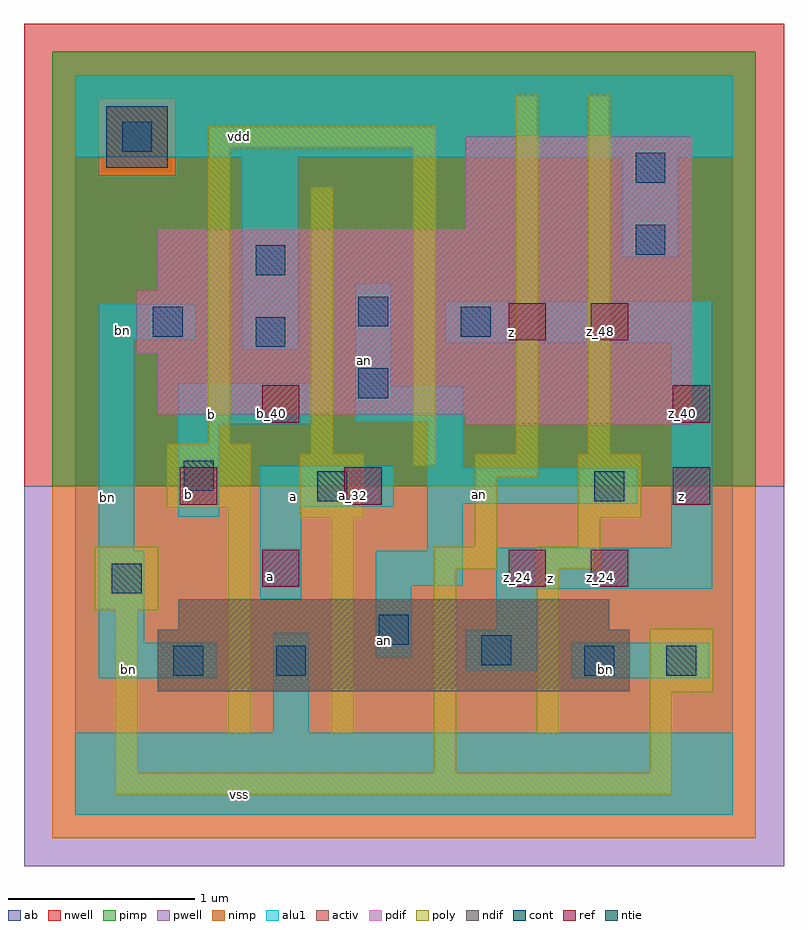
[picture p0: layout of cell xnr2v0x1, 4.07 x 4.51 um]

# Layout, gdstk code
import gdstk
lib = gdstk.Library(unit=1e-6, precision=2.5e-09)
def R(c, l, rs):  # rectangles x0, y0, x1, y1
    for r in rs: c.add(gdstk.rectangle(r[:2], r[2:], *l))
ndif = (3, 0)
pdif = (4, 0)
ntie = (5, 0)
ref = (24, 0)
cont = (25, 0)
pwell = (41, 0)
nwell = (42, 0)
activ = (43, 0)
pimp = (44, 0)
nimp = (45, 0)
poly = (46, 0)
alu1 = (49, 0)
ab = (63, 0)

xnr2v0x1 = lib.new_cell('xnr2v0x1')
R(xnr2v0x1, ndif, [(0.44,0.66,2.97,0.99), (0.55,0.99,2.86,1.155)])
R(xnr2v0x1, pdif, [(2.09,2.09,3.3,2.145), (0.44,2.145,3.3,2.475), (0.33,2.475,3.3,2.805), (0.44,2.805,3.3,3.135), (2.09,3.135,3.3,3.63)])
R(xnr2v0x1, ntie, [(0.165,3.465,0.495,3.795)])
R(xnr2v0x1, ref, [(1,1.22,1.2,1.42), (2.32,1.22,2.52,1.42), (2.76,1.22,2.96,1.42), (0.56,1.66,0.76,1.86), (1.44,1.66,1.64,1.86), (3.2,1.66,3.4,1.86), (1,2.1,1.2,2.3), (3.2,2.1,3.4,2.3), (2.32,2.54,2.52,2.74), (2.76,2.54,2.96,2.74)])
R(xnr2v0x1, cont, [(0.525,0.745,0.685,0.905), (1.075,0.745,1.235,0.905), (2.725,0.745,2.885,0.905), (3.165,0.745,3.325,0.905), (2.175,0.8,2.335,0.96), (1.625,0.91,1.785,1.07), (0.195,1.185,0.355,1.345), (1.295,1.68,1.455,1.84), (2.78,1.68,2.94,1.84), (0.58,1.735,0.74,1.895), (1.515,2.23,1.675,2.39), (0.965,2.505,1.125,2.665), (0.415,2.56,0.575,2.72), (2.065,2.56,2.225,2.72), (1.515,2.615,1.675,2.775), (0.965,2.89,1.125,3.05), (3,3,3.16,3.16), (3,3.385,3.16,3.545), (0.25,3.55,0.41,3.71)])
R(xnr2v0x1, pwell, [(-0.275,-0.275,3.795,1.76)])
R(xnr2v0x1, nwell, [(-0.275,1.76,3.795,4.235)])
R(xnr2v0x1, activ, [(0.44,0.66,2.97,0.99), (0.55,0.99,2.86,1.155), (2.09,2.09,3.3,2.145), (0.44,2.145,3.3,2.475), (0.33,2.475,3.3,2.805), (0.44,2.805,3.3,3.135), (2.09,3.135,3.3,3.63), (0.165,3.465,0.495,3.795)])
R(xnr2v0x1, pimp, [(-0.125,1.76,3.645,3.425), (-0.125,3.425,0.125,3.835), (0.535,3.425,3.645,3.835), (-0.125,3.835,3.645,4.085)])
R(xnr2v0x1, nimp, [(-0.125,-0.125,3.645,1.76), (0.125,3.425,0.535,3.835)])
R(xnr2v0x1, poly, [(0.215,0.105,3.195,0.225), (0.215,0.225,0.335,1.095), (1.92,0.225,2.04,1.315), (3.075,0.225,3.195,0.655), (0.82,0.435,0.94,1.645), (1.37,0.435,1.49,1.59), (2.47,0.435,2.59,1.315), (3.075,0.655,3.415,0.995), (0.105,1.095,0.445,1.435), (1.92,1.315,2.26,1.435), (2.47,1.315,2.81,1.435), (2.14,1.435,2.26,1.81), (2.69,1.435,2.81,1.59), (1.205,1.59,1.545,1.93), (2.69,1.59,3.03,1.93), (0.49,1.645,0.94,1.985), (2.14,1.81,2.48,1.93), (1.81,1.865,1.93,3.57), (1.26,1.93,1.38,3.36), (2.36,1.93,2.48,3.855), (2.745,1.93,2.865,3.855), (0.71,1.985,0.83,3.57), (0.71,3.57,1.93,3.69)])
R(xnr2v0x1, alu1, [(0,0,3.52,0.44), (1.06,0.44,1.25,0.975), (0.125,0.73,0.755,0.92), (2.655,0.73,3.395,0.92), (2.09,0.77,2.475,0.99), (1.61,0.84,1.8,1.225), (0.125,0.92,0.37,1.415), (2.255,0.99,2.475,1.21), (0.99,1.155,1.21,1.65), (2.255,1.21,3.41,1.43), (1.61,1.225,2.075,1.415), (0.125,1.415,0.315,2.545), (1.885,1.415,2.075,1.665), (3.19,1.43,3.41,2.53), (0.55,1.595,0.77,2.09), (0.99,1.65,1.705,1.87), (1.885,1.665,3.01,1.855), (1.885,1.855,2.075,2.105), (0.55,2.09,1.265,2.31), (1.5,2.105,2.075,2.295), (1.5,2.295,1.69,2.845), (0.895,2.49,1.195,3.52), (1.98,2.53,3.41,2.75), (0.125,2.545,0.645,2.735), (2.93,2.985,3.23,3.52), (0,3.52,3.52,3.96)])
R(xnr2v0x1, ab, [(0,0,3.52,3.96)])
xnr2v0x1.add(gdstk.Label('vss', (0.88,0.11), layer=49, texttype=0))
xnr2v0x1.add(gdstk.Label('bn', (2.84,0.7775), layer=49, texttype=0))
xnr2v0x1.add(gdstk.Label('z', (2.5425,1.265), layer=49, texttype=0))
xnr2v0x1.add(gdstk.Label('an', (1.6575,0.935), layer=49, texttype=0))
xnr2v0x1.add(gdstk.Label('bn', (0.2825,0.7775), layer=49, texttype=0))
xnr2v0x1.add(gdstk.Label('z', (3.245,1.705), layer=49, texttype=0))
xnr2v0x1.add(gdstk.Label('a', (1.045,1.2775), layer=49, texttype=0))
xnr2v0x1.add(gdstk.Label('an', (2.165,1.7125), layer=49, texttype=0))
xnr2v0x1.add(gdstk.Label('a', (1.1675,1.705), layer=49, texttype=0))
xnr2v0x1.add(gdstk.Label('b', (0.605,1.7175), layer=49, texttype=0))
xnr2v0x1.add(gdstk.Label('z', (2.3375,2.585), layer=49, texttype=0))
xnr2v0x1.add(gdstk.Label('an', (1.5475,2.4325), layer=49, texttype=0))
xnr2v0x1.add(gdstk.Label('b', (0.7275,2.145), layer=49, texttype=0))
xnr2v0x1.add(gdstk.Label('bn', (0.1725,1.6975), layer=49, texttype=0))
xnr2v0x1.add(gdstk.Label('bn', (0.255,2.5925), layer=49, texttype=0))
xnr2v0x1.add(gdstk.Label('vdd', (0.88,3.63), layer=49, texttype=0))
xnr2v0x1.add(gdstk.Label('b_32', (0.61,1.71), layer=24, texttype=0))
xnr2v0x1.add(gdstk.Label('b_40', (1.05,2.15), layer=24, texttype=0))
xnr2v0x1.add(gdstk.Label('a_32', (1.49,1.71), layer=24, texttype=0))
xnr2v0x1.add(gdstk.Label('a_24', (1.05,1.27), layer=24, texttype=0))
xnr2v0x1.add(gdstk.Label('z_48', (2.37,2.59), layer=24, texttype=0))
xnr2v0x1.add(gdstk.Label('z_48', (2.81,2.59), layer=24, texttype=0))
xnr2v0x1.add(gdstk.Label('z_40', (3.25,2.15), layer=24, texttype=0))
xnr2v0x1.add(gdstk.Label('z_32', (3.25,1.71), layer=24, texttype=0))
xnr2v0x1.add(gdstk.Label('z_24', (2.81,1.27), layer=24, texttype=0))
xnr2v0x1.add(gdstk.Label('z_24', (2.37,1.27), layer=24, texttype=0))

lib.write_gds('xnr2v0x1.gds')
